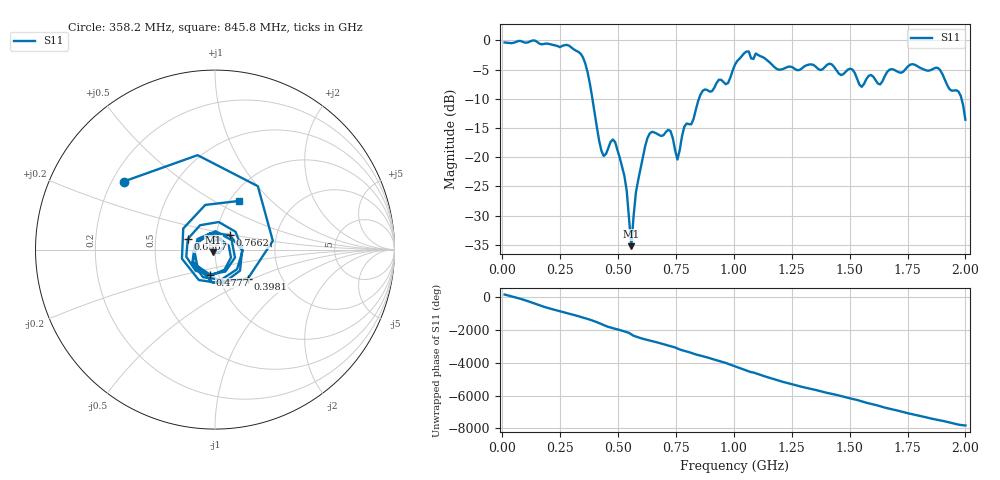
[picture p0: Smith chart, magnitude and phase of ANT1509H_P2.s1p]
!Created with skrf (http://scikit-rf.org).
# Hz S RI R 50.0
!freq ReS11 ImS11
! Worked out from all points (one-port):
!   201 points, 10 MHz to 2 GHz, reference 50 ohm
!   lowest |S11| = -35.2 dB at 557.2 MHz (marker M1), VSWR 1.04, Z = 49.1 - j1.47 ohm
!   |S11| at or under -10 dB: 389.1 MHz to 849.3 MHz (460.2 MHz wide, 74.3 % of centre); 1.983 GHz to end of sweep
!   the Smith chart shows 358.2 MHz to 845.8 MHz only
!   S11 on the Smith chart (normalised r, x): 358.2 MHz: 0.25, +0.31; 398.1 MHz: 1.35, -0.47; 477.6 MHz: 0.91, -0.26; 656.8 MHz: 0.73, +0.09; 766.2 MHz: 1.16, +0.19; 845.8 MHz: 1.10, +0.66
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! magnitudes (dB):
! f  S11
! 10 MHz  -0.4
! 258.8 MHz  -1.0
! 358.2 MHz  -4.0
! 398.1 MHz  -12.2
! 437.9 MHz  -19.8
! 477.6 MHz  -17.0
! 507.5 MHz  -20.1
! 537.4 MHz  -25.7
! 557.2 MHz  -35.2
! 587.1 MHz  -23.9
! 626.9 MHz  -16.7
! 656.8 MHz  -15.8
! 726.4 MHz  -15.5
! 756.2 MHz  -20.4
! 766.2 MHz  -18.8
! 786.1 MHz  -14.8
! 816 MHz  -14.4
! 845.8 MHz  -10.4
! 975.1 MHz  -7.3
! 1.005 GHz  -4.2
! 1.065 GHz  -1.9
! 1.254 GHz  -4.6
! 1.502 GHz  -4.9
! 1.552 GHz  -8.0
! 1.751 GHz  -4.5
! 1.891 GHz  -5.1
! 1.98 GHz  -9.5
! 2 GHz  -13.6
